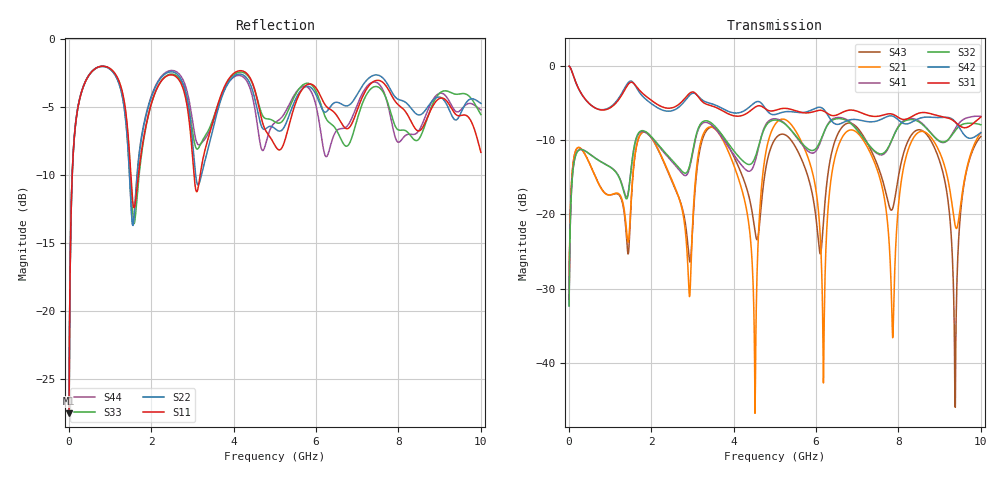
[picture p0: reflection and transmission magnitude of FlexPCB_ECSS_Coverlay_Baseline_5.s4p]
! TOUCHSTONE file generated by CST MICROWAVE STUDIO
! Date and time: Sun Jul  5 19:09:33 2026
! Project name: FlexPCB_ECSS_Coverlay_Baseline.cst
! Parameters = {Gap=0.4; GroundW=4.6; Hadh=0.025; Hcov=0.025; Hsub=0.1; L=50; Tcu=0.035; W=0.22}
! Header version: 2024
! Port assignment regex: !\s*Touchstone port\s*([0-9]+)\s*=\s*(CST MWS port|CST DES external port|CST DES block port)\s*(.+)\s* \(\"(.*)\"\)(\s*mode\s*([0-9]+))?.*
! Touchstone port assignment:
! Touchstone port 1 = CST MWS port 1 ("")
! Touchstone port 2 = CST MWS port 2 ("")
! Touchstone port 3 = CST MWS port 3 ("")
! Touchstone port 4 = CST MWS port 4 ("")
# GHz S MA R 50
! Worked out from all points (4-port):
!   1002 points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, 10 MHz to 10 GHz, reference 50 ohm
!   strongest paths, dB at 10 MHz, 2.51 GHz, 5.01 GHz, 7.503 GHz, 10 GHz:
!     S31: 0.0, -5.6, -6.0, -6.8, -6.9
!     S42: 0.0, -6.0, -6.5, -7.4, -9.0
!     S32: -32.3, -12.7, -7.3, -11.8, -7.9
!     S41: -32.3, -12.9, -7.1, -11.9, -6.8
!     S21: -31.4, -15.4, -7.8, -14.3, -9.0
!     S43: -31.4, -15.6, -9.8, -13.5, -9.5
!   lowest |S11| = -27.5 dB at 10 MHz (marker M1), VSWR 1.09, Z = 49.6 - j4.19 ohm
!   |S11| at or under -10 dB: start of sweep to 85.24 MHz; 1.508 GHz to 1.691 GHz (183.7 MHz wide, 11.5 % of centre); 3.04 GHz to 3.19 GHz (149.6 MHz wide, 4.8 % of centre)
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0.01  0.04218 -92.5  0.0268 84.7  0.9974 -2.9  0.02415 84.6
      0.0268 84.7  0.04245 -92.5  0.02415 84.6  0.9974 -2.9
      0.9974 -2.9  0.02415 84.6  0.04218 -92.5  0.0268 84.7
      0.02415 84.6  0.9974 -2.9  0.0268 84.7  0.04245 -92.5
1.56  0.2483 159.1  0.1886 61.2  0.7707 -171.3  0.2541 -109.2
      0.1886 61.2  0.2065 172.8  0.256 -108.0  0.7756 -175.4
      0.7707 -171.3  0.256 -108.0  0.2191 157.2  0.1862 65.4
      0.2541 -109.2  0.7756 -175.4  0.1862 65.4  0.2084 174.4
3.1  0.2747 169.1  0.2038 88.2  0.6431 16.7  0.342 84.6
     0.2038 88.2  0.3012 159.9  0.3492 83.4  0.6424 19.2
     0.6431 16.7  0.3492 83.4  0.395 169.3  0.1874 59.0
     0.342 84.6  0.6424 19.2  0.1874 59.0  0.4192 163.7
7.86  0.6098 163.9  0.01476 -16.0  0.4731 -135.6  0.3263 -71.3
      0.01476 -16.0  0.6306 163.8  0.327 -75.3  0.4595 -139.4
      0.4731 -135.6  0.327 -75.3  0.5071 157.6  0.1098 166.8
      0.3263 -71.3  0.4595 -139.4  0.1098 166.8  0.4745 158.5
8.57  0.4686 176.1  0.3629 -21.8  0.4855 148.8  0.4113 -175.0
      0.3629 -21.8  0.5302 172.0  0.4062 -177.5  0.4489 145.3
      0.4855 148.8  0.4062 -177.5  0.4498 -177.7  0.3679 -7.5
      0.4113 -175.0  0.4489 145.3  0.3679 -7.5  0.4838 -171.7
9.37  0.5321 165.9  0.08578 -171.6  0.4206 54.5  0.3756 117.1
      0.08578 -171.6  0.5044 169.3  0.3645 111.3  0.4228 43.7
      0.4206 54.5  0.3645 111.3  0.6269 168.7  0.005131 -135.5
      0.3756 117.1  0.4228 43.7  0.005131 -135.5  0.5453 175.0
10  0.3833 164.1  0.3555 7.5  0.4531 -2.4  0.4575 30.1
    0.3555 7.5  0.5794 168.9  0.4016 27.6  0.3558 -9.8
    0.4531 -2.4  0.4016 27.6  0.5272 159.1  0.3348 5.2
    0.4575 30.1  0.3558 -9.8  0.3348 5.2  0.5485 177.6
